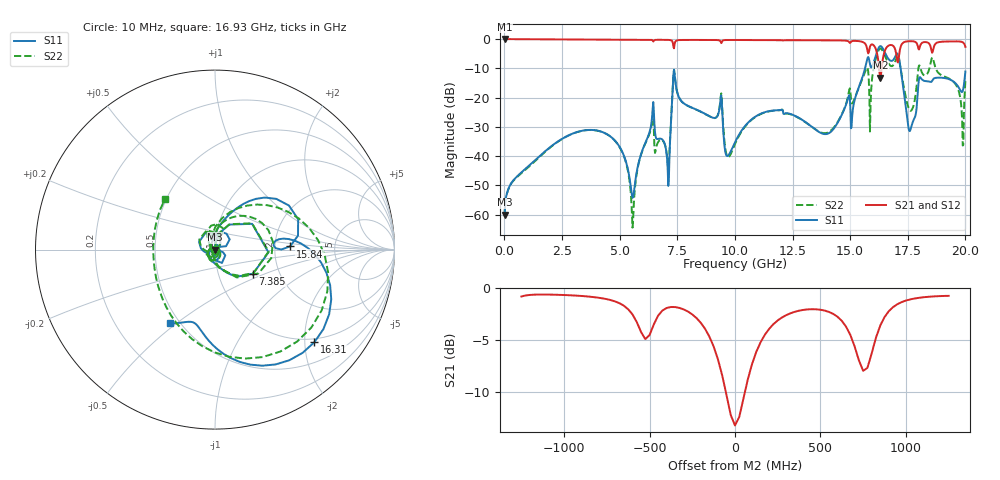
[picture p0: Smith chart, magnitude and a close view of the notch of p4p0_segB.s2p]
! Stitch-density study - 40 x 12 mm symmetric stripline, cut at x=20 mm
! Case: p4p0_segB
! Sweep: 10 MHz - 20 GHz, 25 MHz step, 4 cores
# GHz S MA R 50.000000
! Terminal data exported
! Port[1] = U1.PAD1.SIG
! Port[2] = U2.PAD1.SIG
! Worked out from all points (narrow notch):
!   801 points, 10 MHz to 20 GHz, reference 50 ohm
!   highest |S21| = -0.01 dB at 10 MHz (marker M1); lowest = -13.2 dB at 16.31 GHz (marker M2)
!   notch at M2: 12.9 dB deep, 212 MHz wide at half that depth
!   lowest |S11| = -60.1 dB at 10 MHz (marker M3), VSWR 1.00, Z = 50.1 + j0.0449 ohm
!   |S11| at or under -10 dB: start of sweep to 15.65 GHz; 17.19 GHz to end of sweep
!   |S22| runs from -64.5 to -3.2 dB; largest |S21 - S12| = 0
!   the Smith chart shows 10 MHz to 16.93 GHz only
!   S11 on the Smith chart (normalised r, x): 10 MHz: 1.00, +0.00; 7.385 GHz: 1.47, -0.42; 15.84 GHz: 2.43, +0.10; 16.31 GHz: 0.92, -2.22; 16.93 GHz: 0.44, -0.47
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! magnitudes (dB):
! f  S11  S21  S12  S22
! 10 MHz  -60.1  0.0  0.0  -60.1
! 3.36 GHz  -31.4  -0.1  -0.1  -31.4
! 4.935 GHz  -36.1  -0.2  -0.2  -36.2
! 5.56 GHz  -54.3  -0.2  -0.2  -64.5
! 6.36 GHz  -29.7  -0.3  -0.3  -30.5
! 6.685 GHz  -34.1  -0.2  -0.2  -35.1
! 7.11 GHz  -50.2  -0.3  -0.3  -44.0
! 7.385 GHz  -12.0  -1.8  -1.8  -12.0
! 9.36 GHz  -22.1  -0.6  -0.6  -21.7
! 10.01 GHz  -35.2  -0.3  -0.3  -35.8
! 11.46 GHz  -24.7  -0.4  -0.4  -24.8
! 13.36 GHz  -30.1  -0.4  -0.4  -30.2
! 15.11 GHz  -24.6  -0.6  -0.6  -21.9
! 15.84 GHz  -7.6  -3.5  -3.5  -19.8
! 16.31 GHz  -2.4  -13.2  -13.2  -3.2
! 16.68 GHz  -7.0  -2.2  -2.2  -8.6
! 16.93 GHz  -6.3  -3.1  -3.1  -8.0
! 17.61 GHz  -31.1  -0.7  -0.7  -24.5
! 18.06 GHz  -13.2  -1.9  -1.9  -10.2
! 18.56 GHz  -14.3  -4.7  -4.7  -6.3
! 19.84 GHz  -18.1  -0.9  -0.9  -24.3
! 20 GHz  -11.1  -2.7  -2.7  -14.2
